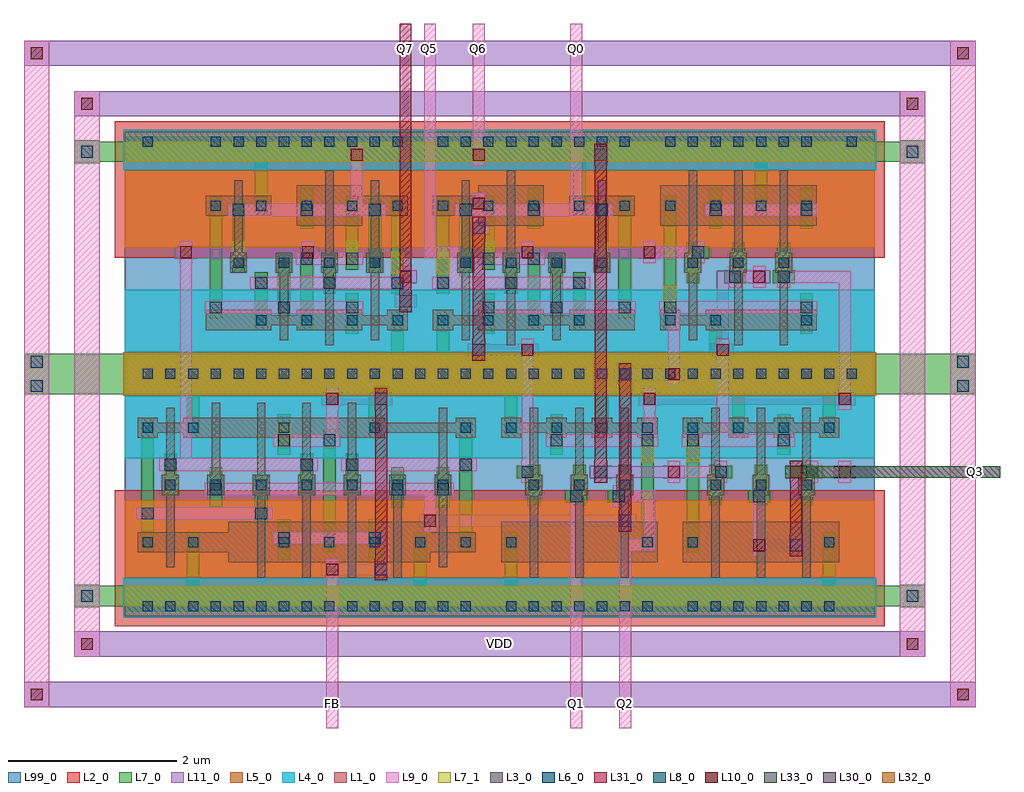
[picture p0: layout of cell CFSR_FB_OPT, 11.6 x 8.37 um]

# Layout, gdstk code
from math import pi, radians
import gdstk
lib = gdstk.Library(unit=1e-6, precision=5e-10)
def R(c, l, rs):  # rectangles x0, y0, x1, y1
    for r in rs: c.add(gdstk.rectangle(r[:2], r[2:], *l))
def A(c, l, x, y, w, h, nx, ny, dx, dy):  # array of equal rectangles
    R(c, l, [(x+i*dx, y+j*dy, x+i*dx+w, y+j*dy+h) for i in range(nx) for j in range(ny)])
L1_0 = (1, 0)
L2_0 = (2, 0)
L3_0 = (3, 0)
L4_0 = (4, 0)
L5_0 = (5, 0)
L6_0 = (6, 0)
L7_0 = (7, 0)
L7_1 = (7, 1)
L8_0 = (8, 0)
L9_0 = (9, 0)
L10_0 = (10, 0)
L11_0 = (11, 0)
L30_0 = (30, 0)
L31_0 = (31, 0)
L32_0 = (32, 0)
L33_0 = (33, 0)
L99_0 = (99, 0)

xor2_tg6 = lib.new_cell('XOR2_TG6')
A(xor2_tg6, L1_0, 0.15, 0.52, 0.24, 0.24, 5, 1, 0.54, 0)
R(xor2_tg6, L1_0, [(0,-0.12,2.7,0.24), (0.39,0.52,0.69,0.76), (1.47,0.52,1.77,0.76), (0.93,0.58,1.23,0.7), (2.01,0.58,2.31,0.7), (1.23,1.76,1.47,2.24), (1.47,1.76,1.77,2.24), (1.77,1.76,2.01,2.24), (0.15,1.88,0.39,2.12), (0.39,1.88,0.69,2.12), (0.69,1.88,0.93,2.12), (2.01,1.88,2.31,2.12), (2.31,1.88,2.55,2.12), (0,2.52,2.7,2.88)])
R(xor2_tg6, L2_0, [(-0.12,1.38,2.82,3)])
A(xor2_tg6, L3_0, 0.44, 1.2, 0.2, 0.24, 4, 1, 0.54, 0)
R(xor2_tg6, L3_0, [(1.57,0.34,1.67,2.42), (1.03,0.4,1.13,1.44), (2.11,0.4,2.21,2.3), (0.49,1.2,0.59,2.3)])
R(xor2_tg6, L4_0, [(0,0.26,2.7,1), (-0.02,2.42,2.72,2.9)])
R(xor2_tg6, L5_0, [(-0.02,-0.14,2.72,0.26), (0,1.5,2.7,2.42)])
A(xor2_tg6, L6_0, 0.21, -0.06, 0.12, 0.12, 9, 2, 0.27, 2.76)
A(xor2_tg6, L6_0, 0.75, 0.58, 0.12, 0.12, 4, 1, 0.54, 0)
A(xor2_tg6, L6_0, 0.48, 1.26, 0.12, 0.12, 4, 1, 0.54, 0)
A(xor2_tg6, L6_0, 0.21, 1.94, 0.12, 0.12, 5, 1, 0.54, 0)
R(xor2_tg6, L7_0, [(0,-0.06,2.7,0.24), (2.355,0,2.505,0.76), (1.815,0.48,1.965,0.96), (0.735,0.52,0.885,1.21), (1.275,0.52,1.425,1.5), (0.195,0.66,0.345,2.12), (1.005,0.66,1.155,1.44), (1.545,0.95,1.695,1.44), (2.355,0.95,2.505,2.12), (0.465,1.2,0.615,2.08), (2.085,1.2,2.235,2.08), (1.815,1.24,1.965,2.12), (1.275,1.73,1.425,2.21), (0.735,1.88,0.885,2.76), (0,2.52,2.7,2.82)])
R(xor2_tg6, L7_1, [(0,0,2.7,0.24), (2.355,1.19,2.505,1.46), (0.465,1.3,0.615,1.57), (1.815,1.3,1.965,1.57), (0,2.52,2.7,2.76)])
A(xor2_tg6, L8_0, 0.2, 0.72, 0.14, 0.14, 3, 1, 0.81, 0)
A(xor2_tg6, L8_0, 0.74, 1.01, 0.14, 0.14, 3, 1, 0.81, 0)
A(xor2_tg6, L8_0, 0.47, 1.88, 0.14, 0.14, 3, 1, 0.81, 0)
R(xor2_tg6, L8_0, [(1.28,1.3,1.42,1.44), (1.82,1.3,1.96,1.44)])
R(xor2_tg6, L9_0, [(0.14,0.715,2.02,0.865), (0.68,1.005,2.56,1.155), (1.22,1.295,2.02,1.445), (0.41,1.875,2.29,2.025)])
R(xor2_tg6, L99_0, [(0,0,2.7,2.76)])
xor2_tg6.add(gdstk.Label('Y', (1.89,1.435), layer=7, texttype=3))
xor2_tg6.add(gdstk.Label('B', (2.43,1.325), layer=7, texttype=3))
xor2_tg6.add(gdstk.Label('A', (0.54,1.435), layer=7, texttype=3))
xor2_tg6.add(gdstk.Label('VDD', (1.35,2.64), layer=7, texttype=3))
xor2_tg6.add(gdstk.Label('GND', (1.35,0.12), layer=7, texttype=3))

nor3_x1 = lib.new_cell('NOR3_X1')
A(nor3_x1, L1_0, 0.15, 0.52, 0.24, 0.24, 4, 1, 0.54, 0)
A(nor3_x1, L1_0, 0.39, 0.58, 0.3, 0.12, 3, 1, 0.54, 0)
A(nor3_x1, L1_0, 0.15, 1.76, 0.24, 0.48, 4, 1, 0.54, 0)
A(nor3_x1, L1_0, 0.39, 1.76, 0.3, 0.48, 3, 1, 0.54, 0)
R(nor3_x1, L1_0, [(0,-0.12,2.16,0.24), (0,2.52,2.16,2.88)])
R(nor3_x1, L2_0, [(-0.12,1.38,2.28,3)])
A(nor3_x1, L3_0, 0.49, 0.4, 0.1, 2.02, 3, 1, 0.54, 0)
A(nor3_x1, L3_0, 0.44, 1.2, 0.2, 0.24, 3, 1, 0.54, 0)
R(nor3_x1, L4_0, [(0,0.26,2.16,1), (-0.02,2.42,2.18,2.9)])
R(nor3_x1, L5_0, [(-0.02,-0.14,2.18,0.26), (0,1.5,2.16,2.42)])
A(nor3_x1, L6_0, 0.21, -0.06, 0.12, 0.12, 7, 2, 0.27, 2.76)
A(nor3_x1, L6_0, 0.21, 0.58, 0.12, 0.12, 4, 1, 0.54, 0)
A(nor3_x1, L6_0, 0.48, 1.26, 0.12, 0.12, 3, 1, 0.54, 0)
R(nor3_x1, L6_0, [(0.21,1.94,0.33,2.06), (1.83,1.94,1.95,2.06)])
A(nor3_x1, L7_0, 0.465, 1.08, 0.15, 0.48, 3, 1, 0.54, 0)
R(nor3_x1, L7_0, [(0,-0.06,2.16,0.24), (0.735,0,0.885,0.76), (1.815,0,1.965,0.76), (1.275,0.48,1.425,0.96), (0.195,0.52,0.345,2.12), (1.815,1.88,1.965,2.76), (0,2.52,2.16,2.82)])
A(nor3_x1, L7_1, 0.465, 1.19, 0.15, 0.27, 3, 1, 0.54, 0)
R(nor3_x1, L7_1, [(0,0,2.16,0.24), (0.195,0.78,0.345,1.05), (0,2.52,2.16,2.76)])
R(nor3_x1, L8_0, [(0.2,0.72,0.34,0.86), (1.28,0.72,1.42,0.86)])
R(nor3_x1, L9_0, [(0.14,0.715,1.48,0.865)])
R(nor3_x1, L99_0, [(0,0,2.16,2.76)])
nor3_x1.add(gdstk.Label('Y', (0.27,0.915), layer=7, texttype=3))
nor3_x1.add(gdstk.Label('C', (0.54,1.325), layer=7, texttype=3))
nor3_x1.add(gdstk.Label('B', (1.08,1.325), layer=7, texttype=3))
nor3_x1.add(gdstk.Label('A', (1.62,1.325), layer=7, texttype=3))
nor3_x1.add(gdstk.Label('VDD', (1.08,2.64), layer=7, texttype=3))
nor3_x1.add(gdstk.Label('GND', (1.08,0.12), layer=7, texttype=3))

aoi21_x1 = lib.new_cell('AOI21_X1')
A(aoi21_x1, L1_0, 0.15, 0.52, 0.24, 0.24, 4, 1, 0.54, 0)
A(aoi21_x1, L1_0, 0.15, 1.76, 0.24, 0.48, 4, 1, 0.54, 0)
A(aoi21_x1, L1_0, 0.39, 1.76, 0.3, 0.48, 3, 1, 0.54, 0)
R(aoi21_x1, L1_0, [(0,-0.12,2.16,0.24), (0.93,0.52,1.23,0.76), (1.47,0.52,1.77,0.76), (0.39,0.58,0.69,0.7), (0,2.52,2.16,2.88)])
R(aoi21_x1, L2_0, [(-0.12,1.38,2.28,3)])
A(aoi21_x1, L3_0, 0.44, 1.2, 0.2, 0.24, 3, 1, 0.54, 0)
R(aoi21_x1, L3_0, [(1.03,0.34,1.13,2.42), (1.57,0.34,1.67,2.42), (0.49,0.4,0.59,2.42)])
R(aoi21_x1, L4_0, [(0,0.26,2.16,1), (-0.02,2.42,2.18,2.9)])
R(aoi21_x1, L5_0, [(-0.02,-0.14,2.18,0.26), (0,1.5,2.16,2.42)])
A(aoi21_x1, L6_0, 0.21, -0.06, 0.12, 0.12, 7, 2, 0.27, 2.76)
A(aoi21_x1, L6_0, 0.48, 1.26, 0.12, 0.12, 3, 1, 0.54, 0)
A(aoi21_x1, L6_0, 0.21, 1.94, 0.12, 0.12, 4, 1, 0.54, 0)
R(aoi21_x1, L6_0, [(0.21,0.58,0.33,0.7), (0.75,0.58,0.87,0.7), (1.83,0.58,1.95,0.7)])
A(aoi21_x1, L7_0, 0.465, 1.08, 0.15, 0.48, 3, 1, 0.54, 0)
R(aoi21_x1, L7_0, [(0,-0.06,2.16,0.24), (0.735,0,0.885,0.76), (1.815,0.48,1.965,0.96), (0.195,0.52,0.345,2.12), (0.735,1.73,0.885,2.21), (1.815,1.73,1.965,2.21), (1.275,1.88,1.425,2.76), (0,2.52,2.16,2.82)])
A(aoi21_x1, L7_1, 0.465, 1.19, 0.15, 0.27, 3, 1, 0.54, 0)
R(aoi21_x1, L7_1, [(0,0,2.16,0.24), (0.195,0.78,0.345,1.05), (0,2.52,2.16,2.76)])
R(aoi21_x1, L8_0, [(0.2,0.72,0.34,0.86), (1.82,0.72,1.96,0.86), (0.74,1.88,0.88,2.02), (1.82,1.88,1.96,2.02)])
R(aoi21_x1, L9_0, [(0.14,0.715,2.02,0.865), (0.68,1.875,2.02,2.025)])
R(aoi21_x1, L99_0, [(0,0,2.16,2.76)])
aoi21_x1.add(gdstk.Label('Y', (0.27,0.915), layer=7, texttype=3))
aoi21_x1.add(gdstk.Label('B', (0.54,1.325), layer=7, texttype=3))
aoi21_x1.add(gdstk.Label('A2', (1.08,1.325), layer=7, texttype=3))
aoi21_x1.add(gdstk.Label('A1', (1.62,1.325), layer=7, texttype=3))
aoi21_x1.add(gdstk.Label('VDD', (1.08,2.64), layer=7, texttype=3))
aoi21_x1.add(gdstk.Label('GND', (1.08,0.12), layer=7, texttype=3))

xnor2_x1 = lib.new_cell('XNOR2_X1')
A(xnor2_x1, L1_0, 1.23, 0.52, 0.24, 0.24, 6, 1, 0.54, 0)
A(xnor2_x1, L1_0, 1.47, 0.52, 0.3, 0.24, 4, 1, 0.54, 0)
A(xnor2_x1, L1_0, 0.69, 1.76, 0.24, 0.48, 5, 1, 0.54, 0)
A(xnor2_x1, L1_0, 0.93, 1.76, 0.3, 0.48, 4, 1, 0.54, 0)
R(xnor2_x1, L1_0, [(0,-0.12,4.32,0.24), (0.15,0.52,0.39,0.76), (0.39,0.58,0.69,0.7), (0.69,0.58,0.93,0.7), (0.93,0.58,1.23,0.7), (3.63,0.58,3.93,0.7), (0.15,1.88,0.39,2.12), (0.39,1.88,0.69,2.12), (3.09,1.88,3.39,2.12), (3.39,1.88,3.63,2.12), (3.63,1.88,3.93,2.12), (3.93,1.88,4.17,2.12), (0,2.52,4.32,2.88)])
R(xnor2_x1, L2_0, [(-0.12,1.38,4.44,3)])
A(xnor2_x1, L3_0, 1.57, 0.34, 0.1, 2.08, 3, 1, 0.54, 0)
A(xnor2_x1, L3_0, 0.44, 1.2, 0.2, 0.24, 7, 1, 0.54, 0)
R(xnor2_x1, L3_0, [(3.19,0.34,3.29,1.44), (0.49,0.4,0.59,2.3), (3.73,0.4,3.83,2.3), (1.03,1.2,1.13,2.42)])
R(xnor2_x1, L4_0, [(0,0.26,4.32,1), (-0.02,2.42,4.34,2.9)])
R(xnor2_x1, L5_0, [(-0.02,-0.14,4.34,0.26), (0,1.5,4.32,2.42)])
A(xnor2_x1, L6_0, 0.21, -0.06, 0.12, 0.12, 15, 2, 0.27, 2.76)
A(xnor2_x1, L6_0, 0.21, 0.58, 0.12, 0.12, 4, 1, 1.08, 0)
A(xnor2_x1, L6_0, 0.48, 1.26, 0.12, 0.12, 7, 1, 0.54, 0)
A(xnor2_x1, L6_0, 0.21, 1.94, 0.12, 0.12, 5, 1, 0.54, 0)
R(xnor2_x1, L6_0, [(3.99,0.58,4.11,0.7), (3.45,1.94,3.57,2.06), (3.99,1.94,4.11,2.06)])
R(xnor2_x1, L7_0, [(0,-0.06,4.32,0.24), (1.275,0,1.425,0.76), (3.435,0,3.585,0.76), (2.355,0.48,2.505,0.96), (0.195,0.52,0.345,2.12), (3.975,0.52,4.125,2.12), (1.815,0.66,1.965,2.12), (1.545,0.95,1.695,1.44), (2.085,0.95,2.235,1.44), (3.705,0.95,3.855,1.44), (0.465,1.11,0.615,1.59), (1.005,1.11,1.155,1.59), (3.165,1.11,3.315,1.59), (2.625,1.2,2.775,1.79), (1.275,1.73,1.425,2.21), (2.355,1.73,2.505,2.21), (0.735,1.88,0.885,2.76), (3.435,1.88,3.585,2.76), (0,2.52,4.32,2.82)])
R(xnor2_x1, L7_1, [(0,0,4.32,0.24), (2.355,0.59,2.505,0.86), (3.705,1.16,3.855,1.43), (0.465,1.3,0.615,1.57), (0,2.52,4.32,2.76)])
R(xnor2_x1, L8_0, [(1.82,0.72,1.96,0.86), (2.36,0.72,2.5,0.86), (0.2,1.01,0.34,1.15), (1.55,1.01,1.69,1.15), (2.09,1.01,2.23,1.15), (3.71,1.01,3.85,1.15), (0.47,1.3,0.61,1.44), (1.01,1.3,1.15,1.44), (3.17,1.3,3.31,1.44), (2.63,1.59,2.77,1.73), (3.98,1.59,4.12,1.73), (1.28,1.88,1.42,2.02), (2.36,1.88,2.5,2.02)])
R(xnor2_x1, L9_0, [(1.76,0.715,2.56,0.865), (0.14,1.005,1.75,1.155), (2.03,1.005,3.91,1.155), (0.41,1.295,3.37,1.445), (2.57,1.585,4.18,1.735), (1.22,1.875,2.56,2.025)])
R(xnor2_x1, L99_0, [(0,0,4.32,2.76)])
xnor2_x1.add(gdstk.Label('Y', (2.43,0.725), layer=7, texttype=3))
xnor2_x1.add(gdstk.Label('B', (0.54,1.435), layer=7, texttype=3))
xnor2_x1.add(gdstk.Label('A', (3.78,1.295), layer=7, texttype=3))
xnor2_x1.add(gdstk.Label('VDD', (2.16,2.64), layer=7, texttype=3))
xnor2_x1.add(gdstk.Label('GND', (2.16,0.12), layer=7, texttype=3))

fill1 = lib.new_cell('FILL1')
R(fill1, L1_0, [(0,-0.12,0.27,0.24), (0,2.52,0.27,2.88)])
R(fill1, L2_0, [(-0.12,1.38,0.39,3)])
R(fill1, L4_0, [(0,0.26,0.27,1), (-0.02,2.42,0.29,2.9)])
R(fill1, L5_0, [(-0.02,-0.14,0.29,0.26), (0,1.5,0.27,2.42)])
R(fill1, L7_0, [(0,-0.06,0.27,0.24), (0,2.52,0.27,2.82)])
R(fill1, L7_1, [(0,0,0.27,0.24), (0,2.52,0.27,2.76)])
R(fill1, L99_0, [(0,0,0.27,2.76)])
fill1.add(gdstk.Label('VDD', (0.135,2.64), layer=7, texttype=3))
fill1.add(gdstk.Label('GND', (0.135,0.12), layer=7, texttype=3))

fill2 = lib.new_cell('FILL2')
R(fill2, L1_0, [(0,-0.12,0.54,0.24), (0,2.52,0.54,2.88)])
R(fill2, L2_0, [(-0.12,1.38,0.66,3)])
R(fill2, L4_0, [(0,0.26,0.54,1), (-0.02,2.42,0.56,2.9)])
R(fill2, L5_0, [(-0.02,-0.14,0.56,0.26), (0,1.5,0.54,2.42)])
R(fill2, L6_0, [(0.21,-0.06,0.33,0.06), (0.21,2.7,0.33,2.82)])
R(fill2, L7_0, [(0,-0.06,0.54,0.24), (0,2.52,0.54,2.82)])
R(fill2, L7_1, [(0,0,0.54,0.24), (0,2.52,0.54,2.76)])
R(fill2, L99_0, [(0,0,0.54,2.76)])
fill2.add(gdstk.Label('VDD', (0.27,2.64), layer=7, texttype=3))
fill2.add(gdstk.Label('GND', (0.27,0.12), layer=7, texttype=3))

m3_m2_vh = lib.new_cell('M3_M2_VH')
R(m3_m2_vh, L9_0, [(-0.075,-0.13,0.075,0.13)])
R(m3_m2_vh, L10_0, [(-0.07,-0.07,0.07,0.07)])
R(m3_m2_vh, L11_0, [(-0.13,-0.075,0.13,0.075)])

m4_m3_hv = lib.new_cell('M4_M3_HV')
R(m4_m3_hv, L11_0, [(-0.13,-0.075,0.13,0.075)])
R(m4_m3_hv, L30_0, [(-0.07,-0.07,0.07,0.07)])
R(m4_m3_hv, L31_0, [(-0.075,-0.13,0.075,0.13)])

m2_m1_hv = lib.new_cell('M2_M1_HV')
R(m2_m1_hv, L7_0, [(-0.13,-0.075,0.13,0.075)])
R(m2_m1_hv, L8_0, [(-0.07,-0.07,0.07,0.07)])
R(m2_m1_hv, L9_0, [(-0.075,-0.13,0.075,0.13)])

m5_m4_vh = lib.new_cell('M5_M4_VH')
R(m5_m4_vh, L31_0, [(-0.075,-0.13,0.075,0.13)])
R(m5_m4_vh, L32_0, [(-0.07,-0.07,0.07,0.07)])
R(m5_m4_vh, L33_0, [(-0.13,-0.075,0.13,0.075)])

cfsr_fb_opt_via0 = lib.new_cell('CFSR_FB_OPT_VIA0')
R(cfsr_fb_opt_via0, L7_0, [(-0.15,-0.24,0.15,0.24)])
R(cfsr_fb_opt_via0, L8_0, [(-0.07,-0.215,0.07,-0.075), (-0.07,0.075,0.07,0.215)])
R(cfsr_fb_opt_via0, L9_0, [(-0.15,-0.24,0.15,0.24)])

cfsr_fb_opt_via1 = lib.new_cell('CFSR_FB_OPT_VIA1')
R(cfsr_fb_opt_via1, L9_0, [(-0.15,-0.15,0.15,0.15)])
R(cfsr_fb_opt_via1, L10_0, [(-0.07,-0.07,0.07,0.07)])
R(cfsr_fb_opt_via1, L11_0, [(-0.15,-0.15,0.15,0.15)])

cfsr_fb_opt_via2 = lib.new_cell('CFSR_FB_OPT_VIA2')
R(cfsr_fb_opt_via2, L7_0, [(-0.15,-0.135,0.15,0.135)])
R(cfsr_fb_opt_via2, L8_0, [(-0.07,-0.07,0.07,0.07)])
R(cfsr_fb_opt_via2, L9_0, [(-0.15,-0.135,0.15,0.135)])

cfsr_fb_opt = lib.new_cell('CFSR_FB_OPT')
R(cfsr_fb_opt, L7_0, [(0.85,1.45,1.45,1.69), (1.45,1.45,10.36,1.69), (10.36,1.45,10.96,1.69), (0.25,3.97,1.45,4.45), (1.45,3.97,10.36,4.45), (10.36,3.97,11.56,4.45), (0.85,6.73,1.45,6.97), (1.45,6.73,10.36,6.97), (10.36,6.73,10.96,6.97)])
R(cfsr_fb_opt, L9_0, [(3.845,0,3.985,0.575), (6.745,0,6.885,0.575), (7.325,0,7.465,0.575), (0.25,0.25,0.55,8.17), (11.26,0.25,11.56,8.17), (0.85,0.85,1.15,7.57), (10.66,0.85,10.96,7.57), (5.005,7.795,5.145,8.37), (5.585,7.795,5.725,8.37), (6.745,7.795,6.885,8.37)])
R(cfsr_fb_opt, L11_0, [(0.25,0.25,11.56,0.55), (0.85,0.85,10.96,1.15), (0.85,0.85,10.96,1.15), (11.275,2.975,11.85,3.115), (0.85,7.27,10.96,7.57), (0.25,7.87,11.56,8.17), (0.25,7.87,11.56,8.17)])
R(cfsr_fb_opt, L31_0, [(4.715,7.795,4.855,8.37)])
R(cfsr_fb_opt, L33_0, [(11.275,2.975,11.85,3.115)])
cfsr_fb_opt.add(gdstk.FlexPath([(5.655,5.945),(5.655,6.235)], 0.14, ends="extended", simple_path=True, layer=11, datatype=0))  # L11_0
cfsr_fb_opt.add(gdstk.FlexPath([(5.655,4.495),(5.655,5.945)], 0.14, ends="extended", simple_path=True, layer=31, datatype=0))  # L31_0
cfsr_fb_opt.add(gdstk.FlexPath([(5.655,4.495),(6.235,4.495)], 0.14, ends="extended", simple_path=True, layer=11, datatype=0))  # L11_0
cfsr_fb_opt.add(gdstk.FlexPath([(6.235,3.045),(6.235,4.495)], 0.14, ends="extended", simple_path=True, layer=9, datatype=0))  # L9_0
cfsr_fb_opt.add(gdstk.FlexPath([(6.815,6.235),(6.815,7.975)], 0.14, ends="flush", simple_path=True, layer=9, datatype=0))  # L9_0
cfsr_fb_opt.add(gdstk.FlexPath([(6.815,0.435),(6.815,2.755)], 0.14, ends=(0, 0.07), simple_path=True, layer=9, datatype=0))  # L9_0
cfsr_fb_opt.add(gdstk.FlexPath([(7.395,0.435),(7.395,2.175)], 0.14, ends=(0, 0.07), simple_path=True, layer=9, datatype=0))  # L9_0
cfsr_fb_opt.add(gdstk.FlexPath([(7.395,2.175),(7.685,2.175)], 0.14, ends="extended", simple_path=True, layer=9, datatype=0))  # L9_0
cfsr_fb_opt.add(gdstk.FlexPath([(7.685,2.175),(7.685,2.755)], 0.14, ends="extended", simple_path=True, layer=9, datatype=0))  # L9_0
cfsr_fb_opt.add(gdstk.FlexPath([(7.32,2.755),(7.685,2.755)], 0.14, ends="extended", simple_path=True, layer=9, datatype=0))  # L9_0
cfsr_fb_opt.add(gdstk.FlexPath([(10.005,3.045),(11.455,3.045)], 0.14, ends=(0.07, 0), simple_path=True, layer=11, datatype=0))  # L11_0
cfsr_fb_opt.add(gdstk.FlexPath([(9.615,3.045),(10.005,3.045)], 0.14, ends="extended", simple_path=True, layer=9, datatype=0))  # L9_0
cfsr_fb_opt.add(gdstk.FlexPath([(9.425,3.045),(11.455,3.045)], 0.14, ends=(0.07, 0), simple_path=True, layer=33, datatype=0))  # L33_0
cfsr_fb_opt.add(gdstk.FlexPath([(9.425,2.175),(9.425,3.045)], 0.14, ends="extended", simple_path=True, layer=31, datatype=0))  # L31_0
cfsr_fb_opt.add(gdstk.FlexPath([(8.99,2.175),(9.425,2.175)], 0.14, ends="extended", simple_path=True, layer=11, datatype=0))  # L11_0
cfsr_fb_opt.add(gdstk.FlexPath([(8.99,2.175),(8.99,2.755)], 0.14, ends="extended", simple_path=True, layer=9, datatype=0))  # L9_0
cfsr_fb_opt.add(gdstk.FlexPath([(5.365,5.365),(5.365,5.655)], 0.14, ends=(0, 0.07), simple_path=True, layer=9, datatype=0))  # L9_0
cfsr_fb_opt.add(gdstk.FlexPath([(5.075,5.655),(5.365,5.655)], 0.14, ends="extended", simple_path=True, layer=9, datatype=0))  # L9_0
cfsr_fb_opt.add(gdstk.FlexPath([(5.075,5.655),(5.075,7.975)], 0.14, ends=(0.07, 0), simple_path=True, layer=9, datatype=0))  # L9_0
cfsr_fb_opt.add(gdstk.FlexPath([(5.655,6.815),(7.105,6.815)], 0.14, ends="extended", simple_path=True, layer=11, datatype=0))  # L11_0
cfsr_fb_opt.add(gdstk.FlexPath([(7.105,3.045),(7.105,6.815)], 0.14, ends="extended", simple_path=True, layer=31, datatype=0))  # L31_0
cfsr_fb_opt.add(gdstk.FlexPath([(7.105,3.045),(7.975,3.045)], 0.14, ends="extended", simple_path=True, layer=11, datatype=0))  # L11_0
cfsr_fb_opt.add(gdstk.FlexPath([(7.975,3.045),(8.535,3.045)], 0.14, ends="extended", simple_path=True, layer=9, datatype=0))  # L9_0
cfsr_fb_opt.add(gdstk.FlexPath([(4.205,6.235),(4.205,6.815)], 0.14, ends=(0, 0.07), simple_path=True, layer=9, datatype=0))  # L9_0
cfsr_fb_opt.add(gdstk.FlexPath([(4.205,6.815),(5.655,6.815)], 0.14, ends="extended", simple_path=True, layer=11, datatype=0))  # L11_0
cfsr_fb_opt.add(gdstk.FlexPath([(5.655,6.815),(5.655,7.975)], 0.14, ends=(0.07, 0), simple_path=True, layer=9, datatype=0))  # L9_0
cfsr_fb_opt.add(gdstk.FlexPath([(4.785,5.075),(4.785,5.365)], 0.14, ends="extended", simple_path=True, layer=11, datatype=0))  # L11_0
cfsr_fb_opt.add(gdstk.FlexPath([(4.785,5.075),(4.785,7.975)], 0.14, ends=(0.07, 0), simple_path=True, layer=31, datatype=0))  # L31_0
cfsr_fb_opt.add(gdstk.FlexPath([(3.915,3.48),(3.915,3.915)], 0.14, ends=(0, 0.07), simple_path=True, layer=9, datatype=0))  # L9_0
cfsr_fb_opt.add(gdstk.FlexPath([(3.915,3.915),(4.495,3.915)], 0.14, ends="extended", simple_path=True, layer=11, datatype=0))  # L11_0
cfsr_fb_opt.add(gdstk.FlexPath([(4.495,1.885),(4.495,3.915)], 0.14, ends="extended", simple_path=True, layer=31, datatype=0))  # L31_0
cfsr_fb_opt.add(gdstk.FlexPath([(3.915,1.885),(4.495,1.885)], 0.14, ends="extended", simple_path=True, layer=11, datatype=0))  # L11_0
cfsr_fb_opt.add(gdstk.FlexPath([(3.915,0.435),(3.915,1.885)], 0.14, ends=(0, 0.07), simple_path=True, layer=9, datatype=0))  # L9_0
cfsr_fb_opt.add(gdstk.FlexPath([(7.685,3.48),(7.685,3.915)], 0.14, ends=(0, 0.07), simple_path=True, layer=9, datatype=0))  # L9_0
cfsr_fb_opt.add(gdstk.FlexPath([(7.685,3.915),(10.005,3.915)], 0.14, ends="extended", simple_path=True, layer=11, datatype=0))  # L11_0
cfsr_fb_opt.add(gdstk.FlexPath([(10.005,3.915),(10.005,5.365)], 0.14, ends="extended", simple_path=True, layer=9, datatype=0))  # L9_0
cfsr_fb_opt.add(gdstk.FlexPath([(9.28,5.365),(10.005,5.365)], 0.14, ends="extended", simple_path=True, layer=9, datatype=0))  # L9_0
cfsr_fb_opt.add(gdstk.FlexPath([(8.555,3.48),(8.555,4.495)], 0.14, ends=(0, 0.07), simple_path=True, layer=9, datatype=0))  # L9_0
cfsr_fb_opt.add(gdstk.FlexPath([(8.555,4.495),(8.555,5.365)], 0.14, ends="extended", simple_path=True, layer=11, datatype=0))  # L11_0
cfsr_fb_opt.add(gdstk.FlexPath([(8.555,5.365),(8.99,5.365)], 0.14, ends="extended", simple_path=True, layer=11, datatype=0))  # L11_0
cfsr_fb_opt.add(gdstk.FlexPath([(8.7,5.365),(8.99,5.365)], 0.14, ends="extended", simple_path=True, layer=9, datatype=0))  # L9_0
cfsr_fb_opt.add(gdstk.FlexPath([(6.235,5.655),(7.685,5.655)], 0.14, ends="extended", simple_path=True, layer=11, datatype=0))  # L11_0
cfsr_fb_opt.add(gdstk.FlexPath([(7.685,5.655),(8.265,5.655)], 0.14, ends="extended", simple_path=True, layer=9, datatype=0))  # L9_0
cfsr_fb_opt.add(gdstk.FlexPath([(2.175,5.655),(3.625,5.655)], 0.14, ends="extended", simple_path=True, layer=11, datatype=0))  # L11_0
cfsr_fb_opt.add(gdstk.FlexPath([(2.175,3.19),(2.175,5.655)], 0.14, ends=(0, 0.07), simple_path=True, layer=9, datatype=0))  # L9_0
cfsr_fb_opt.add(gdstk.FlexPath([(7.975,4.205),(7.975,5.075)], 0.14, ends=(0.07, 0), simple_path=True, layer=9, datatype=0))  # L9_0
cfsr_fb_opt.add(gdstk.FlexPath([(7.395,4.205),(7.975,4.205)], 0.14, ends="extended", simple_path=True, layer=11, datatype=0))  # L11_0
cfsr_fb_opt.add(gdstk.FlexPath([(7.395,2.465),(7.395,4.205)], 0.14, ends="extended", simple_path=True, layer=31, datatype=0))  # L31_0
cfsr_fb_opt.add(gdstk.FlexPath([(5.075,2.465),(7.395,2.465)], 0.14, ends="extended", simple_path=True, layer=11, datatype=0))  # L11_0
cfsr_fb_opt.add(gdstk.FlexPath([(5.075,2.465),(5.075,2.78)], 0.14, ends=(0.07, 0), simple_path=True, layer=9, datatype=0))  # L9_0
cfsr_fb_opt.add(gdstk.Reference(xor2_tg6, (7.66,4.21), rotation=pi, x_reflection=True))
cfsr_fb_opt.add(gdstk.Reference(xor2_tg6, (2.26,4.21)))
cfsr_fb_opt.add(gdstk.Reference(nor3_x1, (7.93,4.21), rotation=pi))
cfsr_fb_opt.add(gdstk.Reference(nor3_x1, (7.93,4.21), x_reflection=True))
cfsr_fb_opt.add(gdstk.Reference(aoi21_x1, (7.66,4.21)))
cfsr_fb_opt.add(gdstk.Reference(xnor2_x1, (5.77,4.21), rotation=pi))
cfsr_fb_opt.add(gdstk.Reference(fill1, (10.09,4.21), x_reflection=True))
cfsr_fb_opt.add(gdstk.Reference(fill2, (1.45,4.21)))
cfsr_fb_opt.add(gdstk.Reference(fill1, (1.99,4.21)))
cfsr_fb_opt.add(gdstk.Reference(fill2, (9.82,4.21)))
cfsr_fb_opt.add(gdstk.Reference(m3_m2_vh, (5.655,6.235)))
cfsr_fb_opt.add(gdstk.Reference(m4_m3_hv, (5.655,5.945)))
cfsr_fb_opt.add(gdstk.Reference(m4_m3_hv, (5.655,4.495)))
cfsr_fb_opt.add(gdstk.Reference(m3_m2_vh, (6.235,4.495)))
cfsr_fb_opt.add(gdstk.Reference(m2_m1_hv, (6.235,3.045)))
cfsr_fb_opt.add(gdstk.Reference(m2_m1_hv, (6.815,2.755)))
cfsr_fb_opt.add(gdstk.Reference(m2_m1_hv, (7.32,2.755)))
cfsr_fb_opt.add(gdstk.Reference(m3_m2_vh, (10.005,3.045)))
cfsr_fb_opt.add(gdstk.Reference(m2_m1_hv, (9.615,3.045)))
cfsr_fb_opt.add(gdstk.Reference(m5_m4_vh, (9.425,3.045)))
cfsr_fb_opt.add(gdstk.Reference(m4_m3_hv, (9.425,2.175)))
cfsr_fb_opt.add(gdstk.Reference(m3_m2_vh, (8.99,2.175)))
cfsr_fb_opt.add(gdstk.Reference(m2_m1_hv, (8.99,2.755)))
cfsr_fb_opt.add(gdstk.Reference(m4_m3_hv, (7.105,6.815)))
cfsr_fb_opt.add(gdstk.Reference(m4_m3_hv, (7.105,3.045)))
cfsr_fb_opt.add(gdstk.Reference(m3_m2_vh, (7.975,3.045)))
cfsr_fb_opt.add(gdstk.Reference(m2_m1_hv, (8.535,3.045)))
cfsr_fb_opt.add(gdstk.Reference(m3_m2_vh, (4.205,6.815)))
cfsr_fb_opt.add(gdstk.Reference(m3_m2_vh, (5.655,6.815)))
cfsr_fb_opt.add(gdstk.Reference(m3_m2_vh, (4.785,5.365)))
cfsr_fb_opt.add(gdstk.Reference(m4_m3_hv, (4.785,5.075)))
cfsr_fb_opt.add(gdstk.Reference(m3_m2_vh, (3.915,3.915)))
cfsr_fb_opt.add(gdstk.Reference(m4_m3_hv, (4.495,3.915)))
cfsr_fb_opt.add(gdstk.Reference(m4_m3_hv, (4.495,1.885)))
cfsr_fb_opt.add(gdstk.Reference(m3_m2_vh, (3.915,1.885)))
cfsr_fb_opt.add(gdstk.Reference(m3_m2_vh, (7.685,3.915)))
cfsr_fb_opt.add(gdstk.Reference(m3_m2_vh, (10.005,3.915)))
cfsr_fb_opt.add(gdstk.Reference(m2_m1_hv, (9.28,5.365)))
cfsr_fb_opt.add(gdstk.Reference(m3_m2_vh, (8.555,4.495)))
cfsr_fb_opt.add(gdstk.Reference(m3_m2_vh, (8.99,5.365)))
cfsr_fb_opt.add(gdstk.Reference(m2_m1_hv, (8.7,5.365)))
cfsr_fb_opt.add(gdstk.Reference(m3_m2_vh, (6.235,5.655)))
cfsr_fb_opt.add(gdstk.Reference(m3_m2_vh, (7.685,5.655)))
cfsr_fb_opt.add(gdstk.Reference(m2_m1_hv, (8.265,5.655)))
cfsr_fb_opt.add(gdstk.Reference(m3_m2_vh, (3.625,5.655)))
cfsr_fb_opt.add(gdstk.Reference(m3_m2_vh, (2.175,5.655)))
cfsr_fb_opt.add(gdstk.Reference(m3_m2_vh, (7.975,4.205)))
cfsr_fb_opt.add(gdstk.Reference(m4_m3_hv, (7.395,4.205)))
cfsr_fb_opt.add(gdstk.Reference(m4_m3_hv, (7.395,2.465)))
cfsr_fb_opt.add(gdstk.Reference(m3_m2_vh, (5.075,2.465)))
cfsr_fb_opt.add(gdstk.Reference(cfsr_fb_opt_via0, (0.4,4.21)))
cfsr_fb_opt.add(gdstk.Reference(cfsr_fb_opt_via1, (0.4,8.02)))
cfsr_fb_opt.add(gdstk.Reference(cfsr_fb_opt_via1, (0.4,0.4)))
cfsr_fb_opt.add(gdstk.Reference(cfsr_fb_opt_via0, (11.41,4.21)))
cfsr_fb_opt.add(gdstk.Reference(cfsr_fb_opt_via1, (11.41,0.4)))
cfsr_fb_opt.add(gdstk.Reference(cfsr_fb_opt_via1, (11.41,8.02)))
cfsr_fb_opt.add(gdstk.Reference(cfsr_fb_opt_via2, (1,6.85)))
cfsr_fb_opt.add(gdstk.Reference(cfsr_fb_opt_via2, (1,1.57)))
cfsr_fb_opt.add(gdstk.Reference(cfsr_fb_opt_via1, (1,1)))
cfsr_fb_opt.add(gdstk.Reference(cfsr_fb_opt_via1, (1,7.42)))
cfsr_fb_opt.add(gdstk.Reference(cfsr_fb_opt_via2, (10.81,6.85)))
cfsr_fb_opt.add(gdstk.Reference(cfsr_fb_opt_via2, (10.81,1.57)))
cfsr_fb_opt.add(gdstk.Reference(cfsr_fb_opt_via1, (10.81,1)))
cfsr_fb_opt.add(gdstk.Reference(cfsr_fb_opt_via1, (10.81,7.42)))
cfsr_fb_opt.add(gdstk.Label('Q0', (6.815,8.0825), layer=9, texttype=3))
cfsr_fb_opt.add(gdstk.Label('Q1', (6.815,0.2875), layer=9, texttype=3))
cfsr_fb_opt.add(gdstk.Label('Q2', (7.395,0.2875), layer=9, texttype=3))
cfsr_fb_opt.add(gdstk.Label('Q3', (11.5625,3.045), layer=11, texttype=3))
cfsr_fb_opt.add(gdstk.Label('Q4', (11.5625,3.045), layer=33, texttype=3))
cfsr_fb_opt.add(gdstk.Label('Q5', (5.075,8.0825), layer=9, texttype=3))
cfsr_fb_opt.add(gdstk.Label('Q6', (5.655,8.0825), layer=9, texttype=3))
cfsr_fb_opt.add(gdstk.Label('Q7', (4.785,8.0825), layer=31, texttype=3))
cfsr_fb_opt.add(gdstk.Label('FB', (3.915,0.2875), layer=9, texttype=3))
cfsr_fb_opt.add(gdstk.Label('VDD', (5.905,1), layer=11, texttype=3))
cfsr_fb_opt.add(gdstk.Label('GND', (5.905,8.02), layer=11, texttype=3))

lib.write_gds('CFSR_FB_OPT.gds')
